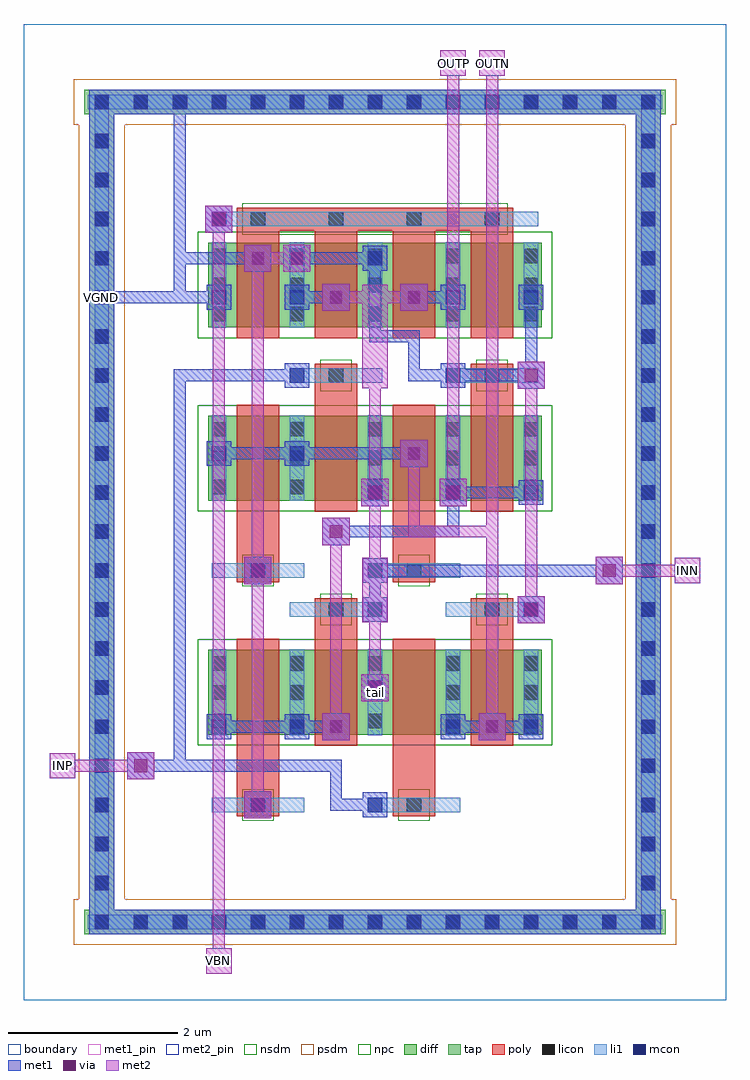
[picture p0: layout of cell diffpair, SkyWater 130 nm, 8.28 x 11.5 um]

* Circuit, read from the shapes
.subckt diffpair INN INP OUTN OUTP VBN VGND tail
XM1 OUTP VGND OUTP VGND sky130_fd_pr__nfet_01v8 w=1 l=0.5 m=2
XM2 OUTN VGND OUTN VGND sky130_fd_pr__nfet_01v8 w=1 l=0.5 m=2
XM3 tail VBN VGND VGND sky130_fd_pr__nfet_01v8 w=1 l=0.5 m=4
XM4 tail INN OUTP VGND sky130_fd_pr__nfet_01v8 w=1 l=0.5 m=2
XM5 tail INP OUTN VGND sky130_fd_pr__nfet_01v8 w=1 l=0.5 m=2
.ends

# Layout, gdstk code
import gdstk
lib = gdstk.Library(unit=1e-6, precision=1e-09)
def R(c, l, rs):  # rectangles x0, y0, x1, y1
    for r in rs: c.add(gdstk.rectangle(r[:2], r[2:], *l))
def A(c, l, x, y, w, h, nx, ny, dx, dy):  # array of equal rectangles
    R(c, l, [(x+i*dx, y+j*dy, x+i*dx+w, y+j*dy+h) for i in range(nx) for j in range(ny)])
diff = (65, 20)
tap = (65, 44)
poly = (66, 20)
licon = (66, 44)
li1 = (67, 20)
mcon = (67, 44)
met1_pin = (68, 16)
met1 = (68, 20)
via = (68, 44)
met2_pin = (69, 16)
met2 = (69, 20)
nsdm = (93, 44)
psdm = (94, 20)
npc = (95, 20)
boundary = (235, 4)

diffpair = lib.new_cell('diffpair')
R(diffpair, diff, [(2.175,3.125,6.105,4.125), (2.175,5.885,6.105,6.885), (2.175,7.925,6.105,8.925)])
R(diffpair, tap, [(0.715,0.775,7.565,1.065), (0.775,0.775,1.065,10.725), (7.215,0.775,7.505,10.725), (0.715,10.435,7.565,10.725)])
A(diffpair, poly, 2.51, 7.795, 0.5, 1.405, 4, 1, 0.92, 0)
R(diffpair, poly, [(2.51,2.165,3.01,2.435), (4.35,2.165,4.85,2.435), (2.51,2.3,3.01,4.255), (4.35,2.3,4.85,4.255), (3.43,2.995,3.93,4.6), (5.27,2.995,5.77,4.6), (3.43,4.465,3.93,4.735), (5.27,4.465,5.77,4.735), (2.51,4.925,3.01,5.195), (4.35,4.925,4.85,5.195), (2.51,5.06,3.01,7.015), (4.35,5.06,4.85,7.015), (3.43,5.755,3.93,7.36), (5.27,5.755,5.77,7.36), (3.43,7.225,3.93,7.495), (5.27,7.225,5.77,7.495), (2.51,9.065,5.77,9.335)])
A(diffpair, licon, 0.835, 0.835, 0.17, 0.17, 15, 2, 0.46, 9.66)
A(diffpair, licon, 7.275, 1.295, 0.17, 0.17, 1, 7, 0, 0.46)
A(diffpair, licon, 0.835, 2.215, 0.17, 0.17, 3, 2, 1.84, 2.76)
A(diffpair, licon, 0.835, 2.675, 0.17, 0.17, 1, 5, 0, 0.46)
A(diffpair, licon, 2.215, 3.2, 0.17, 0.17, 5, 3, 0.92, 0.34)
A(diffpair, licon, 3.595, 4.515, 0.17, 0.17, 3, 2, 1.84, 2.76)
A(diffpair, licon, 7.275, 4.975, 0.17, 0.17, 1, 5, 0, 0.46)
A(diffpair, licon, 0.835, 5.435, 0.17, 0.17, 1, 11, 0, 0.46)
A(diffpair, licon, 2.215, 5.96, 0.17, 0.17, 5, 3, 0.92, 0.34)
A(diffpair, licon, 7.275, 7.735, 0.17, 0.17, 1, 6, 0, 0.46)
A(diffpair, licon, 2.215, 8, 0.17, 0.17, 5, 3, 0.92, 0.34)
A(diffpair, licon, 2.675, 9.115, 0.17, 0.17, 4, 1, 0.92, 0)
R(diffpair, licon, [(0.835,1.295,1.005,1.465), (0.835,1.755,1.005,1.925)])
A(diffpair, li1, 2.215, 3.12, 0.17, 1.01, 5, 2, 0.92, 2.76)
A(diffpair, li1, 2.215, 7.92, 0.17, 1.01, 5, 1, 0.92, 0)
R(diffpair, li1, [(0.755,0.835,7.525,1.005), (0.835,0.835,1.005,10.665), (7.275,0.835,7.445,10.665), (2.215,2.215,3.305,2.385), (4.055,2.215,5.145,2.385), (3.135,4.515,4.225,4.685), (4.975,4.515,6.065,4.685), (2.215,4.975,3.305,5.145), (4.055,4.975,5.145,5.145), (3.135,7.275,4.225,7.445), (4.975,7.275,6.065,7.445), (2.215,9.115,6.065,9.285), (0.755,10.495,7.525,10.665)])
A(diffpair, mcon, 0.835, 0.835, 0.17, 0.17, 15, 2, 0.46, 9.66)
A(diffpair, mcon, 0.835, 1.295, 0.17, 0.17, 1, 5, 0, 0.46)
A(diffpair, mcon, 7.275, 1.295, 0.17, 0.17, 1, 5, 0, 0.46)
A(diffpair, mcon, 0.835, 3.595, 0.17, 0.17, 3, 2, 3.22, 5.06)
A(diffpair, mcon, 0.835, 4.055, 0.17, 0.17, 1, 10, 0, 0.46)
A(diffpair, mcon, 7.275, 4.055, 0.17, 0.17, 1, 10, 0, 0.46)
A(diffpair, mcon, 4.055, 5.895, 0.17, 0.17, 3, 1, 0.92, 0)
A(diffpair, mcon, 3.135, 6.355, 0.17, 0.17, 1, 3, 0, 0.92)
A(diffpair, mcon, 0.835, 9.115, 0.17, 0.17, 1, 3, 0, 0.46)
A(diffpair, mcon, 7.275, 9.115, 0.17, 0.17, 1, 3, 0, 0.46)
R(diffpair, mcon, [(2.675,2.215,2.845,2.385), (4.055,2.215,4.225,2.385), (2.215,3.135,2.385,3.305), (3.135,3.135,3.305,3.305), (4.975,3.135,5.145,3.305), (5.895,3.135,6.065,3.305), (4.055,4.515,4.225,4.685), (5.895,4.515,6.065,4.685), (2.675,4.975,2.845,5.145), (4.055,4.975,4.225,5.145), (2.215,6.355,2.385,6.525), (4.975,7.275,5.145,7.445), (2.215,8.195,2.385,8.365), (4.975,8.195,5.145,8.365), (5.895,8.195,6.065,8.365), (2.215,9.115,2.385,9.285)])
R(diffpair, met1_pin, [(0.85,8.21,0.99,8.35)])
A(diffpair, met1, 3.995, 5.835, 0.29, 0.29, 3, 1, 0.92, 0)
A(diffpair, met1, 3.075, 6.295, 0.29, 0.29, 1, 3, 0, 0.92)
R(diffpair, met1, [(0.775,0.775,7.505,1.065), (0.775,0.775,1.065,10.725), (7.215,0.775,7.505,10.725), (2.6,2.14,2.92,2.46), (2.615,2.155,2.905,2.445), (3.995,2.155,4.285,2.445), (3.61,2.23,4.21,2.37), (3.61,2.23,3.75,2.83), (1.22,2.6,1.54,2.92), (1.31,2.69,3.75,2.83), (1.77,2.69,1.91,7.43), (3.52,3.06,3.84,3.38), (5.36,3.06,5.68,3.38), (2.155,3.075,2.445,3.365), (3.075,3.075,3.365,3.365), (4.915,3.075,5.205,3.365), (5.835,3.075,6.125,3.365), (2.23,3.15,3.29,3.29), (3.15,3.15,3.75,3.29), (4.99,3.15,6.05,3.29), (3.98,3.52,4.3,3.84), (3.995,3.535,4.285,3.825), (5.82,4.44,6.14,4.76), (3.995,4.455,4.285,4.745), (5.835,4.455,6.125,4.745), (4.07,4.53,4.21,5.13), (2.6,4.9,2.92,5.22), (6.74,4.9,7.06,5.22), (2.615,4.915,2.905,5.205), (3.995,4.915,4.285,5.205), (4.07,4.99,6.97,5.13), (3.52,5.36,3.84,5.68), (3.61,5.45,5.13,5.59), (4.99,5.45,5.13,6.05), (3.98,5.82,4.3,6.14), (4.9,5.82,5.22,6.14), (4.99,5.91,6.05,6.05), (4.44,6.28,4.76,6.6), (2.155,6.295,2.445,6.585), (2.23,6.37,3.29,6.51), (3.15,6.37,4.67,6.51), (5.82,7.2,6.14,7.52), (4.915,7.215,5.205,7.505), (1.77,7.29,3.29,7.43), (4.53,7.29,5.13,7.43), (4.53,7.29,4.67,7.89), (4.99,7.29,6.05,7.43), (5.91,7.29,6.05,8.35), (4.07,7.75,4.67,7.89), (4.07,7.75,4.21,8.81), (3.52,8.12,3.84,8.44), (4.44,8.12,4.76,8.44), (2.155,8.135,2.445,8.425), (4.915,8.135,5.205,8.425), (5.835,8.135,6.125,8.425), (0.85,8.21,2.37,8.35), (0.85,8.21,0.99,8.35), (1.77,8.21,1.91,10.65), (3.15,8.21,3.75,8.35), (4.53,8.21,5.13,8.35), (2.6,8.58,2.92,8.9), (3.06,8.58,3.38,8.9), (3.995,8.595,4.285,8.885), (1.77,8.67,2.83,8.81), (3.15,8.67,4.21,8.81), (2.14,9.04,2.46,9.36), (2.155,9.055,2.445,9.345), (0.775,10.435,7.505,10.725), (1.77,10.51,1.91,10.65)])
R(diffpair, via, [(2.685,2.225,2.835,2.375), (1.305,2.685,1.455,2.835), (3.605,3.145,3.755,3.295), (5.445,3.145,5.595,3.295), (4.065,3.605,4.215,3.755), (5.905,4.525,6.055,4.675), (2.685,4.985,2.835,5.135), (6.825,4.985,6.975,5.135), (3.605,5.445,3.755,5.595), (4.065,5.905,4.215,6.055), (4.985,5.905,5.135,6.055), (4.525,6.365,4.675,6.515), (5.905,7.285,6.055,7.435), (3.605,8.205,3.755,8.355), (4.525,8.205,4.675,8.355), (2.685,8.665,2.835,8.815), (3.145,8.665,3.295,8.815), (2.225,9.125,2.375,9.275)])
R(diffpair, met2_pin, [(2.15,0.31,2.45,0.61), (0.31,2.61,0.61,2.91), (7.67,4.91,7.97,5.21), (4.91,10.89,5.21,11.19), (5.37,10.89,5.67,11.19)])
R(diffpair, met2, [(2.15,0.31,2.45,0.61), (2.23,0.39,2.37,0.53), (2.23,0.39,2.37,9.27), (2.6,2.14,2.92,2.46), (2.69,2.23,2.83,5.13), (1.22,2.6,1.54,2.92), (0.31,2.61,0.61,2.91), (0.39,2.69,0.53,2.83), (0.39,2.69,1.45,2.83), (3.52,3.06,3.84,3.38), (5.36,3.06,5.68,3.38), (3.61,3.15,3.75,5.59), (5.45,3.15,5.59,11.11), (3.98,3.52,4.3,3.84), (4.07,3.61,4.21,4.67), (5.82,4.44,6.14,4.76), (3.99,4.45,4.29,5.21), (5.91,4.53,6.05,7.43), (2.6,4.9,2.92,5.22), (6.74,4.9,7.06,5.22), (7.67,4.91,7.97,5.21), (2.69,4.99,2.83,8.81), (4.07,4.99,4.21,6.05), (6.83,4.99,7.89,5.13), (7.75,4.99,7.89,5.13), (3.52,5.36,3.84,5.68), (4.53,5.45,4.67,6.51), (4.53,5.45,5.59,5.59), (3.98,5.82,4.3,6.14), (4.9,5.82,5.22,6.14), (4.07,5.91,4.21,7.43), (4.99,5.91,5.13,11.11), (4.44,6.28,4.76,6.6), (5.82,7.2,6.14,7.52), (3.99,7.21,4.29,8.43), (3.52,8.12,3.84,8.44), (4.44,8.12,4.76,8.44), (3.61,8.21,4.21,8.35), (4.07,8.21,4.67,8.35), (2.6,8.58,2.92,8.9), (3.06,8.58,3.38,8.9), (2.69,8.67,3.29,8.81), (2.14,9.04,2.46,9.36), (4.91,10.89,5.21,11.19), (5.37,10.89,5.67,11.19), (4.99,10.97,5.13,11.11), (5.45,10.97,5.59,11.11)])
R(diffpair, nsdm, [(2.05,3,6.23,4.25), (2.05,5.76,6.23,7.01), (2.05,7.8,6.23,9.05)])
R(diffpair, psdm, [(0.59,0.65,7.69,1.19), (0.65,1.19,1.19,10.31), (7.09,1.19,7.63,10.31), (0.59,10.31,7.69,10.85)])
R(diffpair, npc, [(2.575,2.115,2.945,2.485), (4.415,2.115,4.785,2.485), (3.495,4.415,3.865,4.785), (5.335,4.415,5.705,4.785), (2.575,4.875,2.945,5.245), (4.415,4.875,4.785,5.245), (3.495,7.175,3.865,7.545), (5.335,7.175,5.705,7.545), (2.575,9.015,5.705,9.385)])
R(diffpair, boundary, [(0,0,8.28,11.5)])
diffpair.add(gdstk.Label('tail', (4.14,3.625), layer=67, texttype=5))
diffpair.add(gdstk.Label('VGND', (0.92,8.28), layer=68, texttype=5))
diffpair.add(gdstk.Label('INP', (0.46,2.76), layer=69, texttype=5))
diffpair.add(gdstk.Label('INN', (7.82,5.06), layer=69, texttype=5))
diffpair.add(gdstk.Label('VBN', (2.3,0.46), layer=69, texttype=5))
diffpair.add(gdstk.Label('OUTP', (5.06,11.04), layer=69, texttype=5))
diffpair.add(gdstk.Label('OUTN', (5.52,11.04), layer=69, texttype=5))
diffpair.add(gdstk.Label('VGND', (0.92,8.28), layer=68, texttype=16))
diffpair.add(gdstk.Label('INP', (0.46,2.76), layer=69, texttype=16))
diffpair.add(gdstk.Label('INN', (7.82,5.06), layer=69, texttype=16))
diffpair.add(gdstk.Label('VBN', (2.3,0.46), layer=69, texttype=16))
diffpair.add(gdstk.Label('OUTP', (5.06,11.04), layer=69, texttype=16))
diffpair.add(gdstk.Label('OUTN', (5.52,11.04), layer=69, texttype=16))

lib.write_gds('diffpair.gds')
